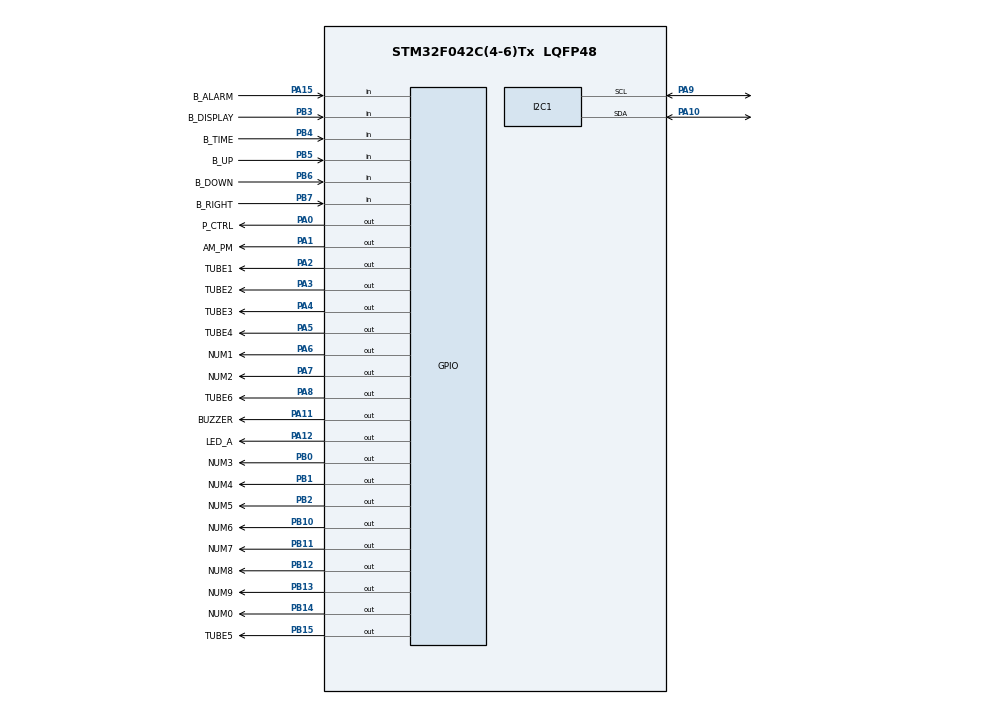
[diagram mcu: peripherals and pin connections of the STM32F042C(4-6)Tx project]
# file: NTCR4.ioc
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Mcu.Family=STM32F0
Mcu.Name=STM32F042C(4-6)Tx
Mcu.Package=LQFP48
NVIC.RCC_CRS_IRQn=true\:0\:0\:false\:false\:true\:true
NVIC.TIM2_IRQn=true\:0\:0\:false\:false\:true\:true
PA0.GPIO_Label=P_CTRL
PA0.GPIO_PuPd=GPIO_PULLDOWN
PA0.Signal=GPIO_Output
PA1.GPIO_Label=AM_PM
PA1.GPIO_PuPd=GPIO_PULLDOWN
PA1.Signal=GPIO_Output
PA10.Mode=I2C
PA10.Signal=I2C1_SDA
PA11.GPIO_Label=BUZZER
PA11.GPIO_PuPd=GPIO_PULLDOWN
PA11.Signal=GPIO_Output
PA12.GPIO_Label=LED_A
PA12.GPIO_PuPd=GPIO_PULLDOWN
PA12.Signal=GPIO_Output
PA13.Mode=Serial_Wire
PA13.Signal=SYS_SWDIO
PA14.Mode=Serial_Wire
PA14.Signal=SYS_SWCLK
PA15.GPIO_Label=B_ALARM
PA15.Signal=GPIO_Input
PA2.GPIO_Label=TUBE1
PA2.GPIO_PuPd=GPIO_PULLDOWN
PA2.Signal=GPIO_Output
PA3.GPIO_Label=TUBE2
PA3.GPIO_PuPd=GPIO_PULLDOWN
PA3.Signal=GPIO_Output
PA4.GPIO_Label=TUBE3
PA4.GPIO_PuPd=GPIO_PULLDOWN
PA4.Signal=GPIO_Output
PA5.GPIO_Label=TUBE4
PA5.GPIO_PuPd=GPIO_PULLDOWN
PA5.Signal=GPIO_Output
PA6.GPIO_Label=NUM1
PA6.GPIO_PuPd=GPIO_PULLDOWN
PA6.Signal=GPIO_Output
PA7.GPIO_Label=NUM2
PA7.GPIO_PuPd=GPIO_PULLDOWN
PA7.Signal=GPIO_Output
PA8.GPIO_Label=TUBE6
PA8.GPIO_PuPd=GPIO_PULLDOWN
PA8.Signal=GPIO_Output
PA9.Mode=I2C
PA9.Signal=I2C1_SCL
PB0.GPIO_Label=NUM3
PB0.GPIO_PuPd=GPIO_PULLDOWN
PB0.Signal=GPIO_Output
PB1.GPIO_Label=NUM4
PB1.GPIO_PuPd=GPIO_PULLDOWN
PB1.Signal=GPIO_Output
PB10.GPIO_Label=NUM6
PB10.GPIO_PuPd=GPIO_PULLDOWN
PB10.Signal=GPIO_Output
PB11.GPIO_Label=NUM7
PB11.GPIO_PuPd=GPIO_PULLDOWN
PB11.Signal=GPIO_Output
PB12.GPIO_Label=NUM8
PB12.GPIO_PuPd=GPIO_PULLDOWN
PB12.Signal=GPIO_Output
PB13.GPIO_Label=NUM9
PB13.GPIO_PuPd=GPIO_PULLDOWN
PB13.Signal=GPIO_Output
PB14.GPIO_Label=NUM0
PB14.GPIO_PuPd=GPIO_PULLDOWN
PB14.Signal=GPIO_Output
PB15.GPIO_Label=TUBE5
PB15.GPIO_PuPd=GPIO_PULLDOWN
PB15.Signal=GPIO_Output
PB2.GPIO_Label=NUM5
PB2.GPIO_PuPd=GPIO_PULLDOWN
PB2.Signal=GPIO_Output
PB3.GPIO_Label=B_DISPLAY
PB3.Signal=GPIO_Input
PB4.GPIO_Label=B_TIME
PB4.Signal=GPIO_Input
PB5.GPIO_Label=B_UP
PB5.Signal=GPIO_Input
PB6.GPIO_Label=B_DOWN
PB6.Signal=GPIO_Input
PB7.GPIO_Label=B_RIGHT
PB7.Signal=GPIO_Input
PC14OSC32_IN.Mode=LSE-External-Oscillator
PC14OSC32_IN.Signal=RCC_OSC32_IN
PC15OSC32_OUT.Mode=LSE-External-Oscillator
PC15OSC32_OUT.Signal=RCC_OSC32_OUT
ProjectManager.HeapSize=0x200
ProjectManager.StackSize=0x400
ProjectManager.TargetToolchain=SW4STM32
RCC.RTCClockSelection=RCC_RTCCLKSOURCE_LSE
RTC.HourFormat=RTC_HOURFORMAT_12
RTC.Hours=10
TIM2.AutoReloadPreload=TIM_AUTORELOAD_PRELOAD_ENABLE
TIM2.ClockDivision=TIM_CLOCKDIVISION_DIV1
TIM2.Period=1200
TIM2.Prescaler=1000
VP_RTC_VS_RTC_Activate.Mode=RTC_Enabled
VP_RTC_VS_RTC_Calendar.Mode=RTC_Calendar
VP_TIM2_VS_ClockSourceINT.Mode=Internal
board=NTCR4

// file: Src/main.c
/**
  ******************************************************************************
  * @file           : main.c
  * @brief          : Main program body
  ******************************************************************************
  ** This notice applies to any and all portions of this file
  * that are not between comment pairs USER CODE BEGIN and
  * USER CODE END. Other portions of this file, whether
  * inserted by the user or by software development tools
  * are owned by their respective copyright owners.
  *
  * COPYRIGHT(c) 2021 STMicroelectronics
  *
  * Redistribution and use in source and binary forms, with or without modification,
  * are permitted provided that the following conditions are met:
  *   1. Redistributions of source code must retain the above copyright notice,
  *      this list of conditions and the following disclaimer.
  *   2. Redistributions in binary form must reproduce the above copyright notice,
  *      this list of conditions and the following disclaimer in the documentation
  *      and/or other materials provided with the distribution.
  *   3. Neither the name of STMicroelectronics nor the names of its contributors
  *      may be used to endorse or promote products derived from this software
  *      without specific prior written permission.
  *
  * THIS SOFTWARE IS PROVIDED BY THE COPYRIGHT HOLDERS AND CONTRIBUTORS "AS IS"
  * AND ANY EXPRESS OR IMPLIED WARRANTIES, INCLUDING, BUT NOT LIMITED TO, THE
  * IMPLIED WARRANTIES OF MERCHANTABILITY AND FITNESS FOR A PARTICULAR PURPOSE ARE
  * DISCLAIMED. IN NO EVENT SHALL THE COPYRIGHT HOLDER OR CONTRIBUTORS BE LIABLE
  * FOR ANY DIRECT, INDIRECT, INCIDENTAL, SPECIAL, EXEMPLARY, OR CONSEQUENTIAL
  * DAMAGES (INCLUDING, BUT NOT LIMITED TO, PROCUREMENT OF SUBSTITUTE GOODS OR
  * SERVICES; LOSS OF USE, DATA, OR PROFITS; OR BUSINESS INTERRUPTION) HOWEVER
  * CAUSED AND ON ANY THEORY OF LIABILITY, WHETHER IN CONTRACT, STRICT LIABILITY,
  * OR TORT (INCLUDING NEGLIGENCE OR OTHERWISE) ARISING IN ANY WAY OUT OF THE USE
  * OF THIS SOFTWARE, EVEN IF ADVISED OF THE POSSIBILITY OF SUCH DAMAGE.
  *
  ******************************************************************************
  */
#include "main.h"
#include "stm32f0xx_hal.h"

/* USER CODE BEGIN Includes */
#include "LP5018.h"
#include "stdbool.h"
//#include "stm32f0xx_hal_tim.h"
/* USER CODE END Includes */

I2C_HandleTypeDef hi2c1;

RTC_HandleTypeDef hrtc;

TIM_HandleTypeDef htim2;

/* USER CODE BEGIN PV */
RTC_TimeTypeDef sTimeGet;
RTC_TimeTypeDef sTimeSet;
RTC_AlarmTypeDef sAlarmSet;
RTC_AlarmTypeDef sAlarmGet;

/* Private variables ---------------------------------------------------------*/

/* USER CODE END PV */

void SystemClock_Config(void);
static void MX_GPIO_Init(void);
static void MX_I2C1_Init(void);
static void MX_RTC_Init(void);
static void MX_TIM2_Init(void);

/* USER CODE BEGIN PFP */
/* Private function prototypes -----------------------------------------------*/
void setTube(int tube);
void setNumber(int num);
void updateTubes(uint8_t H, uint8_t M, uint8_t S);
void updateTime(void);
void setTime(void);
void checkAlarm(void);
void setAlarmTime(void);
void setColor(uint8_t brightness);
void displayColor(uint8_t brightness);
void pollButtons(void);
void numberCycle(void);
void screeeee(bool on);

uint8_t seconds = 57;
uint8_t minutes = 59;
uint8_t hours = 10;
uint8_t ampm;
uint8_t alarmSeconds = 0;
uint8_t alarmMinutes = 0;
uint8_t alarmHours = 12;
uint8_t alarmampm;
uint8_t colour = 6;
uint8_t lightLevel = 0xB0;
uint8_t NC = 0; 				//number cycle number

bool TIME_FLAG = false;			//puts into time set mode
bool ALARM_FLAG = false;		//puts into alarm set mode
bool DISPLAY_FLAG = false;		//puts into display set more
bool UP_FLAG = false;			//for use in modes
bool DOWN_FLAG = false;			//for use in modes
bool RIGHT_FLAG = false;		//for use in modes
bool SET_ALARM_FLAG = false;	//is the alarm armed?
bool PM_FLAG = false;			//is it after noon?
bool PM_ALARM_FLAG = false;		//is it alarm after noon?
bool BLINK_FLAG1 = false;		//permission to blink the LEDs
bool BLINK_FLAG2 = false;		//blink the LEDs
bool POLL_BUTTONS_FLAG = false; //permission to poll buttons
bool NUMBER_CYCLE_FLAG = false; //number cycle at end of hours
bool UPDATE_FLAG = false;

//enum mode{normal, setTime, setAlarm, setColor};
/* USER CODE END PFP */

int main(void)
{

  /* MCU Configuration----------------------------------------------------------*/

  /* Reset of all peripherals, Initializes the Flash interface and the Systick. */
  HAL_Init();

  /* Configure the system clock */
  SystemClock_Config();

  /* Initialize all configured peripherals */
  MX_GPIO_Init();
  MX_I2C1_Init();
  MX_RTC_Init();
  MX_TIM2_Init();
  /* USER CODE BEGIN 2 */
  HAL_TIM_Base_Start_IT(&htim2);
  configLEDs(&hi2c1, 0xFF);
  setLEDsColor(&hi2c1, 0xF0, 0x00, 0x80, 0x80);
  HAL_GPIO_WritePin(GPIOA, P_CTRL_Pin, GPIO_PIN_SET);
  /* USER CODE END 2 */

  /* Infinite loop */
  /* USER CODE BEGIN WHILE */
  while (1)
  {
	  pollButtons();
	  updateTime();
	  setColor(lightLevel);
	  numberCycle();
	  checkAlarm();

	  //blinking
	  if(!BLINK_FLAG2){
		  lightLevel = 0xB0;
		  displayColor(lightLevel);
	  }else{
		  lightLevel = 0x00;
		  displayColor(lightLevel);
	  }

	  //alarm, time, updating, etc
	  if(!ALARM_FLAG){
		  setTime();
		  updateTubes(hours, minutes, seconds);
	  }else{
		  setAlarmTime();
		  updateTubes(alarmHours, alarmMinutes, alarmSeconds);
	  }
  /* USER CODE END WHILE */

  }

}

void SystemClock_Config(void)
{

  RCC_OscInitTypeDef RCC_OscInitStruct;
  RCC_ClkInitTypeDef RCC_ClkInitStruct;
  RCC_PeriphCLKInitTypeDef PeriphClkInit;

    /**Configure LSE Drive Capability
    */
  HAL_PWR_EnableBkUpAccess();

  __HAL_RCC_LSEDRIVE_CONFIG(RCC_LSEDRIVE_HIGH);

    /**Initializes the CPU, AHB and APB busses clocks
    */
  RCC_OscInitStruct.OscillatorType = RCC_OSCILLATORTYPE_HSI|RCC_OSCILLATORTYPE_LSE;
  RCC_OscInitStruct.LSEState = RCC_LSE_ON;
  RCC_OscInitStruct.HSIState = RCC_HSI_ON;
  RCC_OscInitStruct.HSICalibrationValue = 16;
  RCC_OscInitStruct.PLL.PLLState = RCC_PLL_NONE;
  if (HAL_RCC_OscConfig(&RCC_OscInitStruct) != HAL_OK)
  {
    _Error_Handler(__FILE__, __LINE__);
  }

    /**Initializes the CPU, AHB and APB busses clocks
    */
  RCC_ClkInitStruct.ClockType = RCC_CLOCKTYPE_HCLK|RCC_CLOCKTYPE_SYSCLK
                              |RCC_CLOCKTYPE_PCLK1;
  RCC_ClkInitStruct.SYSCLKSource = RCC_SYSCLKSOURCE_HSI;
  RCC_ClkInitStruct.AHBCLKDivider = RCC_SYSCLK_DIV1;
  RCC_ClkInitStruct.APB1CLKDivider = RCC_HCLK_DIV1;

  if (HAL_RCC_ClockConfig(&RCC_ClkInitStruct, FLASH_LATENCY_0) != HAL_OK)
  {
    _Error_Handler(__FILE__, __LINE__);
  }

  PeriphClkInit.PeriphClockSelection = RCC_PERIPHCLK_I2C1|RCC_PERIPHCLK_RTC;
  PeriphClkInit.I2c1ClockSelection = RCC_I2C1CLKSOURCE_HSI;
  PeriphClkInit.RTCClockSelection = RCC_RTCCLKSOURCE_LSE;
  if (HAL_RCCEx_PeriphCLKConfig(&PeriphClkInit) != HAL_OK)
  {
    _Error_Handler(__FILE__, __LINE__);
  }

    /**Configure the Systick interrupt time
    */
  HAL_SYSTICK_Config(HAL_RCC_GetHCLKFreq()/1000);

    /**Configure the Systick
    */
  HAL_SYSTICK_CLKSourceConfig(SYSTICK_CLKSOURCE_HCLK);

  /* SysTick_IRQn interrupt configuration */
  HAL_NVIC_SetPriority(SysTick_IRQn, 0, 0);
}

/* I2C1 init function */
static void MX_I2C1_Init(void)
{

  hi2c1.Instance = I2C1;
  hi2c1.Init.Timing = 0x2000090E;
  hi2c1.Init.OwnAddress1 = 0;
  hi2c1.Init.AddressingMode = I2C_ADDRESSINGMODE_7BIT;
  hi2c1.Init.DualAddressMode = I2C_DUALADDRESS_DISABLE;
  hi2c1.Init.OwnAddress2 = 0;
  hi2c1.Init.OwnAddress2Masks = I2C_OA2_NOMASK;
  hi2c1.Init.GeneralCallMode = I2C_GENERALCALL_DISABLE;
  hi2c1.Init.NoStretchMode = I2C_NOSTRETCH_DISABLE;
  if (HAL_I2C_Init(&hi2c1) != HAL_OK)
  {
    _Error_Handler(__FILE__, __LINE__);
  }

    /**Configure Analogue filter
    */
  if (HAL_I2CEx_ConfigAnalogFilter(&hi2c1, I2C_ANALOGFILTER_ENABLE) != HAL_OK)
  {
    _Error_Handler(__FILE__, __LINE__);
  }

    /**Configure Digital filter
    */
  if (HAL_I2CEx_ConfigDigitalFilter(&hi2c1, 0) != HAL_OK)
  {
    _Error_Handler(__FILE__, __LINE__);
  }

}

/* RTC init function */
static void MX_RTC_Init(void)
{

  RTC_TimeTypeDef sTime;
  RTC_DateTypeDef sDate;

    /**Initialize RTC Only
    */
  hrtc.Instance = RTC;
if(HAL_RTCEx_BKUPRead(&hrtc, RTC_BKP_DR0) != 0x32F2){
  hrtc.Init.HourFormat = RTC_HOURFORMAT_12;
  hrtc.Init.AsynchPrediv = 127;
  hrtc.Init.SynchPrediv = 255;
  hrtc.Init.OutPut = RTC_OUTPUT_DISABLE;
  hrtc.Init.OutPutPolarity = RTC_OUTPUT_POLARITY_HIGH;
  hrtc.Init.OutPutType = RTC_OUTPUT_TYPE_OPENDRAIN;
  if (HAL_RTC_Init(&hrtc) != HAL_OK)
  {
    _Error_Handler(__FILE__, __LINE__);
  }

    /**Initialize RTC and set the Time and Date
    */
  sTime.Hours = 0x10;
  sTime.Minutes = 0x0;
  sTime.Seconds = 0x0;
  sTime.TimeFormat = RTC_HOURFORMAT12_AM;
  sTime.DayLightSaving = RTC_DAYLIGHTSAVING_NONE;
  sTime.StoreOperation = RTC_STOREOPERATION_RESET;
  if (HAL_RTC_SetTime(&hrtc, &sTime, RTC_FORMAT_BCD) != HAL_OK)
  {
    _Error_Handler(__FILE__, __LINE__);
  }

  sDate.WeekDay = RTC_WEEKDAY_MONDAY;
  sDate.Month = RTC_MONTH_JANUARY;
  sDate.Date = 0x1;
  sDate.Year = 0x0;

  if (HAL_RTC_SetDate(&hrtc, &sDate, RTC_FORMAT_BCD) != HAL_OK)
  {
    _Error_Handler(__FILE__, __LINE__);
  }

    HAL_RTCEx_BKUPWrite(&hrtc,RTC_BKP_DR0,0x32F2);
  }

}

/* TIM2 init function */
static void MX_TIM2_Init(void)
{

  TIM_ClockConfigTypeDef sClockSourceConfig;
  TIM_MasterConfigTypeDef sMasterConfig;

  htim2.Instance = TIM2;
  htim2.Init.Prescaler = 1000;
  htim2.Init.CounterMode = TIM_COUNTERMODE_UP;
  htim2.Init.Period = 1200;
  htim2.Init.ClockDivision = TIM_CLOCKDIVISION_DIV1;
  htim2.Init.AutoReloadPreload = TIM_AUTORELOAD_PRELOAD_ENABLE;
  if (HAL_TIM_Base_Init(&htim2) != HAL_OK)
  {
    _Error_Handler(__FILE__, __LINE__);
  }

  sClockSourceConfig.ClockSource = TIM_CLOCKSOURCE_INTERNAL;
  if (HAL_TIM_ConfigClockSource(&htim2, &sClockSourceConfig) != HAL_OK)
  {
    _Error_Handler(__FILE__, __LINE__);
  }

  sMasterConfig.MasterOutputTrigger = TIM_TRGO_RESET;
  sMasterConfig.MasterSlaveMode = TIM_MASTERSLAVEMODE_DISABLE;
  if (HAL_TIMEx_MasterConfigSynchronization(&htim2, &sMasterConfig) != HAL_OK)
  {
    _Error_Handler(__FILE__, __LINE__);
  }

}

/** Configure pins as
        * Analog
        * Input
        * Output
        * EVENT_OUT
        * EXTI
*/
static void MX_GPIO_Init(void)
{

  GPIO_InitTypeDef GPIO_InitStruct;

  /* GPIO Ports Clock Enable */
  __HAL_RCC_GPIOC_CLK_ENABLE();
  __HAL_RCC_GPIOA_CLK_ENABLE();
  __HAL_RCC_GPIOB_CLK_ENABLE();

  /*Configure GPIO pin Output Level */
  HAL_GPIO_WritePin(GPIOA, P_CTRL_Pin|AM_PM_Pin|TUBE1_Pin|TUBE2_Pin
                          |TUBE3_Pin|TUBE4_Pin|NUM1_Pin|NUM2_Pin
                          |TUBE6_Pin|BUZZER_Pin|LED_A_Pin, GPIO_PIN_RESET);

  /*Configure GPIO pin Output Level */
  HAL_GPIO_WritePin(GPIOB, NUM3_Pin|NUM4_Pin|NUM5_Pin|NUM6_Pin
                          |NUM7_Pin|NUM8_Pin|NUM9_Pin|NUM0_Pin
                          |TUBE5_Pin, GPIO_PIN_RESET);

  /*Configure GPIO pins : P_CTRL_Pin AM_PM_Pin TUBE1_Pin TUBE2_Pin
                           TUBE3_Pin TUBE4_Pin NUM1_Pin NUM2_Pin
                           TUBE6_Pin BUZZER_Pin LED_A_Pin */
  GPIO_InitStruct.Pin = P_CTRL_Pin|AM_PM_Pin|TUBE1_Pin|TUBE2_Pin
                          |TUBE3_Pin|TUBE4_Pin|NUM1_Pin|NUM2_Pin
                          |TUBE6_Pin|BUZZER_Pin|LED_A_Pin;
  GPIO_InitStruct.Mode = GPIO_MODE_OUTPUT_PP;
  GPIO_InitStruct.Pull = GPIO_PULLDOWN;
  GPIO_InitStruct.Speed = GPIO_SPEED_FREQ_LOW;
  HAL_GPIO_Init(GPIOA, &GPIO_InitStruct);

  /*Configure GPIO pins : NUM3_Pin NUM4_Pin NUM5_Pin NUM6_Pin
                           NUM7_Pin NUM8_Pin NUM9_Pin NUM0_Pin
                           TUBE5_Pin */
  GPIO_InitStruct.Pin = NUM3_Pin|NUM4_Pin|NUM5_Pin|NUM6_Pin
                          |NUM7_Pin|NUM8_Pin|NUM9_Pin|NUM0_Pin
                          |TUBE5_Pin;
  GPIO_InitStruct.Mode = GPIO_MODE_OUTPUT_PP;
  GPIO_InitStruct.Pull = GPIO_PULLDOWN;
  GPIO_InitStruct.Speed = GPIO_SPEED_FREQ_LOW;
  HAL_GPIO_Init(GPIOB, &GPIO_InitStruct);

  /*Configure GPIO pin : B_ALARM_Pin */
  GPIO_InitStruct.Pin = B_ALARM_Pin;
  GPIO_InitStruct.Mode = GPIO_MODE_INPUT;
  GPIO_InitStruct.Pull = GPIO_NOPULL;
  HAL_GPIO_Init(B_ALARM_GPIO_Port, &GPIO_InitStruct);

  /*Configure GPIO pins : B_DISPLAY_Pin B_TIME_Pin B_UP_Pin B_DOWN_Pin
                           B_RIGHT_Pin */
  GPIO_InitStruct.Pin = B_DISPLAY_Pin|B_TIME_Pin|B_UP_Pin|B_DOWN_Pin
                          |B_RIGHT_Pin;
  GPIO_InitStruct.Mode = GPIO_MODE_INPUT;
  GPIO_InitStruct.Pull = GPIO_NOPULL;
  HAL_GPIO_Init(GPIOB, &GPIO_InitStruct);

}

/* USER CODE BEGIN 4 */

void HAL_TIM_PeriodElapsedCallback(TIM_HandleTypeDef* htim){
	if (htim->Instance == TIM2)	//100ms timer
	{
		static uint8_t i = 0;
		i++;
		POLL_BUTTONS_FLAG = true;
		//if we are changing the time do not start the update process
		if(!TIME_FLAG){
			UPDATE_FLAG = true;
		}
		//Blink rate
		if(i == 3 && BLINK_FLAG1){
			BLINK_FLAG2 = !BLINK_FLAG2;
			i=0;
		}else if(!BLINK_FLAG1){
			BLINK_FLAG2 = false;
		}else if(i > 3){
			i = 0;
		}
		//Start the Number cycle
		if(minutes == 59 && seconds == 59){
			NUMBER_CYCLE_FLAG = true;
		}
		if(NUMBER_CYCLE_FLAG){
			NC++;
		}
	}
}

void pollButtons(void){
	static uint8_t i = 0;
	if(POLL_BUTTONS_FLAG){
		if(!HAL_GPIO_ReadPin(GPIOB, B_TIME_Pin)){				//time button goes into time set mode
			if(!TIME_FLAG && !ALARM_FLAG && !DISPLAY_FLAG){
				TIME_FLAG = true;
			}else{
				TIME_FLAG = false;
			}
		}
		if(TIME_FLAG && !HAL_GPIO_ReadPin(GPIOA, B_ALARM_Pin)){		//time button and then alarm button puts into alarm set mode
			//ALARM_FLAG = !ALARM_FLAG;
			if(i == 0){
				ALARM_FLAG = true;
				i++;
			}else{
				ALARM_FLAG = false;
				TIME_FLAG = false;
				i = 0;
			}
		}
		if(!HAL_GPIO_ReadPin(GPIOB, B_DISPLAY_Pin)){			//display button goes into display mode
			if(!DISPLAY_FLAG && !ALARM_FLAG && !TIME_FLAG){
				DISPLAY_FLAG = true;
			}else{
				DISPLAY_FLAG = false;
			}
		}
		if(!HAL_GPIO_ReadPin(GPIOA, B_ALARM_Pin) && !TIME_FLAG){				//alarm button on its own enables/disables the alarm
			if(!SET_ALARM_FLAG && !TIME_FLAG && !DISPLAY_FLAG){
				SET_ALARM_FLAG = true;
			}else{
				SET_ALARM_FLAG = false;
			}
		}
		if(!HAL_GPIO_ReadPin(GPIOB, B_UP_Pin)){					//up
			if((!UP_FLAG && TIME_FLAG) || (!UP_FLAG && DISPLAY_FLAG) || (!UP_FLAG && ALARM_FLAG)){
				UP_FLAG = true;
			}else{
				UP_FLAG = false;
			}
		}
		if(!HAL_GPIO_ReadPin(GPIOB, B_DOWN_Pin)){				//down
			if((!DOWN_FLAG && TIME_FLAG) || (!DOWN_FLAG && DISPLAY_FLAG) || (!DOWN_FLAG && ALARM_FLAG)){
				DOWN_FLAG = true;
			}else{
				DOWN_FLAG = false;
			}
		}
		if(!HAL_GPIO_ReadPin(GPIOB, B_RIGHT_Pin)){				//right
			if((!RIGHT_FLAG && TIME_FLAG) || (!RIGHT_FLAG && ALARM_FLAG)){
				RIGHT_FLAG = true;
			}else{
				RIGHT_FLAG = false;
			}
		}
		POLL_BUTTONS_FLAG = false;
	}
}

void setAlarmTime(void){
	static uint8_t tube = 0;

	if(ALARM_FLAG){
		if(RIGHT_FLAG){
			RIGHT_FLAG = false;
			tube++;
			if(tube>2){
				tube = 0;
			}
		}
		configLEDs(&hi2c1, 0x03 << tube*2);

		if(UP_FLAG){
			UP_FLAG = false;
			switch(tube){
			case 0:
				alarmHours += 1;
				if(alarmHours > 12){
					alarmHours = 1;
					PM_ALARM_FLAG = !PM_ALARM_FLAG;
				}
				break;
			case 1:
				alarmMinutes += 1;
				if(alarmMinutes > 59){
					alarmMinutes = 0;
				}
				break;
			case 2:
				alarmSeconds += 1;
				if(alarmSeconds > 59){
					alarmSeconds = 0;
				}
				break;
			default:
				break;
			}

		}else if(DOWN_FLAG){
			DOWN_FLAG = false;
			switch(tube){
			case 0:
				if(alarmHours == 1){
					alarmHours = 13;
					PM_ALARM_FLAG = !PM_ALARM_FLAG;
				}
				alarmHours -= 1;

				break;
			case 1:
				if(alarmMinutes == 0){
					alarmMinutes = 60;
				}
				alarmMinutes -= 1;

				break;
			case 2:
				if(alarmSeconds == 0){
					alarmSeconds = 60;
				}
				alarmSeconds -= 1;
				break;
			default:
				break;
			}
		} else{
			//nothing
		}
		/*sAlarmSet.Seconds = alarmSeconds;
		sAlarmSet.Minutes = alarmMinutes;
		sAlarmSet.Hours = alarmHours;
		HAL_RTC_SetAlarm_IT(&hrtc, &sAlarmSet, RTC_FORMAT_BIN);*/

	}else{
		tube = 0;
		configLEDs(&hi2c1, 0xFF);
	}
}

void checkAlarm(void){
	if(SET_ALARM_FLAG){
		HAL_GPIO_WritePin(GPIOA, LED_A_Pin, GPIO_PIN_SET);	//turn on the LED
		if(hours == alarmHours && minutes == alarmMinutes && seconds == alarmSeconds && ampm == alarmampm && !TIME_FLAG && !ALARM_FLAG){
			//will only occur if not in a setting mode and if the time matches exactly
			//activate alarm
			screeeee(true);
		}
	}else{
		HAL_GPIO_WritePin(GPIOA, LED_A_Pin, GPIO_PIN_RESET);//no alarm LED
		//silence alarm
		screeeee(false);
	}
}

void screeeee(bool on){
	if(on){
		HAL_GPIO_WritePin(GPIOA, BUZZER_Pin, GPIO_PIN_SET);
	}else{
		HAL_GPIO_WritePin(GPIOA, BUZZER_Pin, GPIO_PIN_RESET);
	}
}

void setColor(uint8_t brightness){
	if(DISPLAY_FLAG == true){
		if(UP_FLAG == true){
			UP_FLAG = false;
			colour++;
			if(colour > 10){
				colour = 1;
			}
		}else if(DOWN_FLAG == true){
			DOWN_FLAG = false;
			colour--;
			if(colour < 1){
				colour = 10;
			}
		}
		displayColor(brightness);
		BLINK_FLAG1 = true;
	}
	else{
		BLINK_FLAG1 = false;
	}
}

void displayColor(uint8_t brightness){
	switch(colour){
	case 1:
		setLEDsColor(&hi2c1, brightness, 0x80, 0x80, 0x80);	//white
		HAL_GPIO_WritePin(GPIOA, P_CTRL_Pin, GPIO_PIN_SET);
		break;
	case 2:
		setLEDsColor(&hi2c1, brightness, 0x80, 0x00, 0x00);	//red
		HAL_GPIO_WritePin(GPIOA, P_CTRL_Pin, GPIO_PIN_SET);
		break;
	case 3:
		setLEDsColor(&hi2c1, brightness, 0x80, 0x40, 0x00);	//Orange
		HAL_GPIO_WritePin(GPIOA, P_CTRL_Pin, GPIO_PIN_SET);
		break;
	case 4:
		setLEDsColor(&hi2c1, brightness, 0x80, 0x80, 0x00);	//yellow
		HAL_GPIO_WritePin(GPIOA, P_CTRL_Pin, GPIO_PIN_SET);
		break;
	case 5:
		setLEDsColor(&hi2c1, brightness, 0x00, 0x80, 0x00);	//green
		HAL_GPIO_WritePin(GPIOA, P_CTRL_Pin, GPIO_PIN_SET);
		break;
	case 6:
		setLEDsColor(&hi2c1, brightness, 0x00, 0x80, 0x80);	//teal
		HAL_GPIO_WritePin(GPIOA, P_CTRL_Pin, GPIO_PIN_SET);
		break;
	case 7:
		setLEDsColor(&hi2c1, brightness, 0x00, 0x00, 0x80);	//blue
		HAL_GPIO_WritePin(GPIOA, P_CTRL_Pin, GPIO_PIN_SET);
		break;
	case 8:
		setLEDsColor(&hi2c1, brightness, 0x80, 0x00, 0x80);	//purple
		HAL_GPIO_WritePin(GPIOA, P_CTRL_Pin, GPIO_PIN_SET);
		break;
	case 9:
		setLEDsColor(&hi2c1, brightness, 0x00, 0x00, 0x00);	//leds off
		HAL_GPIO_WritePin(GPIOA, P_CTRL_Pin, GPIO_PIN_SET);
		break;
	case 10:
		setLEDsColor(&hi2c1, brightness, 0x00, 0x00, 0x00);	//all off
		HAL_GPIO_WritePin(GPIOA, P_CTRL_Pin, GPIO_PIN_RESET);
		break;
	default:
		colour = 1;
		break;
	}
}

void numberCycle(void){
	if(NUMBER_CYCLE_FLAG && (NC < 10) && !TIME_FLAG){
		hours = NC*11;
		minutes = NC*11;
		seconds = NC*11;
		updateTubes(hours, minutes, seconds);
	}else{
		NUMBER_CYCLE_FLAG = false;
		NC = 0;
	}
}

void setTime(void){
	//RTC_TimeTypeDef sTimeSet;
	static uint8_t tube = 0;

	if(TIME_FLAG){
		if(RIGHT_FLAG){
			RIGHT_FLAG = false;
			tube++;
			if(tube>2){
				tube = 0;
			}
		}
		configLEDs(&hi2c1, 0x03 << tube*2);

		if(UP_FLAG){
			UP_FLAG = false;
			switch(tube){
			case 0:
				hours += 1;
				if(hours == 12){
					PM_FLAG = !PM_FLAG;
				}
				if(hours > 12){
					hours = 1;
				}
				break;
			case 1:
				minutes += 1;
				if(minutes > 59){
					minutes = 0;
				}
				break;
			case 2:
				seconds += 1;
				if(seconds > 59){
					seconds = 0;
				}
				break;
			default:
				break;
			}

		}else if(DOWN_FLAG){
			DOWN_FLAG = false;
			switch(tube){
			case 0:
				if(hours == 1){
					hours = 13;
				}else if(hours == 12){
					PM_FLAG = !PM_FLAG;
				}
				hours -= 1;

				break;
			case 1:
				if(minutes == 0){
					minutes = 60;
				}
				minutes -= 1;

				break;
			case 2:
				if(seconds == 0){
					seconds = 60;
				}
				seconds -= 1;
				break;
			default:
				break;
			}
		} else{
			//nothing
		}
		sTimeSet.Seconds = seconds;
		sTimeSet.Minutes = minutes;
		sTimeSet.Hours = hours;
		HAL_RTC_SetTime(&hrtc, &sTimeSet, RTC_FORMAT_BIN);

	}else{
		tube = 0;
		configLEDs(&hi2c1, 0xFF);
	}
}

void updateTime(void){
	static uint8_t i = 0;
	if(UPDATE_FLAG){
		RTC_DateTypeDef sDateGet;
		HAL_RTC_GetTime(&hrtc, &sTimeGet, RTC_FORMAT_BIN);
		HAL_RTC_GetDate(&hrtc, &sDateGet, RTC_FORMAT_BIN);
		seconds = sTimeGet.Seconds;
		minutes = sTimeGet.Minutes;
		hours = sTimeGet.Hours;
		ampm = sTimeGet.TimeFormat;
		if(hours == 12 && minutes == 0 && seconds == 0){
			i++;
			if(i > 5){
				PM_FLAG = !PM_FLAG;
				i = 0;
			}
		}
		UPDATE_FLAG = false;
	}
}

void updateTubes(uint8_t H, uint8_t M, uint8_t S){
	setTube(1);
	setNumber(H/10);
	HAL_Delay(1);
	setTube(2);
	setNumber(H%10);
	HAL_Delay(1);
	setTube(3);
	setNumber(M/10);
	HAL_Delay(1);
	setTube(4);
	setNumber(M%10);
	HAL_Delay(1);
	setTube(5);
	setNumber(S/10);
	HAL_Delay(1);
	setTube(6);
	setNumber(S%10);
	HAL_Delay(1);
	/*if((PM_FLAG && !ALARM_FLAG) || (PM_ALARM_FLAG)){
		//50% duty cycle to help resistor
		//HAL_GPIO_TogglePin(GPIOA, AM_PM_Pin);
		setTube(0);
		HAL_GPIO_WritePin(GPIOA, AM_PM_Pin, GPIO_PIN_SET);
		HAL_Delay(1);
		HAL_GPIO_WritePin(GPIOA, AM_PM_Pin, GPIO_PIN_RESET);
	}else{
		HAL_GPIO_WritePin(GPIOA, AM_PM_Pin, GPIO_PIN_RESET);
	}*/

	if((PM_FLAG && !ALARM_FLAG) || (PM_ALARM_FLAG)){
		//50% duty cycle to help resistor
		HAL_GPIO_TogglePin(GPIOA, AM_PM_Pin);
		//HAL_GPIO_WritePin(GPIOA, AM_PM_Pin, GPIO_PIN_SET);
	}else{
		HAL_GPIO_WritePin(GPIOA, AM_PM_Pin, GPIO_PIN_RESET);
	}
}

void setTube(int tube){
	switch(tube){
	case 1:
		HAL_GPIO_WritePin(GPIOA, TUBE1_Pin, GPIO_PIN_SET);
		HAL_GPIO_WritePin(GPIOA, TUBE2_Pin, GPIO_PIN_RESET);
		HAL_GPIO_WritePin(GPIOA, TUBE3_Pin, GPIO_PIN_RESET);
		HAL_GPIO_WritePin(GPIOA, TUBE4_Pin, GPIO_PIN_RESET);
		HAL_GPIO_WritePin(GPIOB, TUBE5_Pin, GPIO_PIN_RESET);
		HAL_GPIO_WritePin(GPIOA, TUBE6_Pin, GPIO_PIN_RESET);
		break;
	case 2:
		HAL_GPIO_WritePin(GPIOA, TUBE1_Pin, GPIO_PIN_RESET);
		HAL_GPIO_WritePin(GPIOA, TUBE2_Pin, GPIO_PIN_SET);
		HAL_GPIO_WritePin(GPIOA, TUBE3_Pin, GPIO_PIN_RESET);
		HAL_GPIO_WritePin(GPIOA, TUBE4_Pin, GPIO_PIN_RESET);
		HAL_GPIO_WritePin(GPIOB, TUBE5_Pin, GPIO_PIN_RESET);
		HAL_GPIO_WritePin(GPIOA, TUBE6_Pin, GPIO_PIN_RESET);
		break;
	case 3:
		HAL_GPIO_WritePin(GPIOA, TUBE1_Pin, GPIO_PIN_RESET);
		HAL_GPIO_WritePin(GPIOA, TUBE2_Pin, GPIO_PIN_RESET);
		HAL_GPIO_WritePin(GPIOA, TUBE3_Pin, GPIO_PIN_SET);
		HAL_GPIO_WritePin(GPIOA, TUBE4_Pin, GPIO_PIN_RESET);
		HAL_GPIO_WritePin(GPIOB, TUBE5_Pin, GPIO_PIN_RESET);
		HAL_GPIO_WritePin(GPIOA, TUBE6_Pin, GPIO_PIN_RESET);
		break;
	case 4:
		HAL_GPIO_WritePin(GPIOA, TUBE1_Pin, GPIO_PIN_RESET);
		HAL_GPIO_WritePin(GPIOA, TUBE2_Pin, GPIO_PIN_RESET);
		HAL_GPIO_WritePin(GPIOA, TUBE3_Pin, GPIO_PIN_RESET);
		HAL_GPIO_WritePin(GPIOA, TUBE4_Pin, GPIO_PIN_SET);
		HAL_GPIO_WritePin(GPIOB, TUBE5_Pin, GPIO_PIN_RESET);
		HAL_GPIO_WritePin(GPIOA, TUBE6_Pin, GPIO_PIN_RESET);
		break;
	case 5:
		HAL_GPIO_WritePin(GPIOA, TUBE1_Pin, GPIO_PIN_RESET);
		HAL_GPIO_WritePin(GPIOA, TUBE2_Pin, GPIO_PIN_RESET);
		HAL_GPIO_WritePin(GPIOA, TUBE3_Pin, GPIO_PIN_RESET);
		HAL_GPIO_WritePin(GPIOA, TUBE4_Pin, GPIO_PIN_RESET);
		HAL_GPIO_WritePin(GPIOB, TUBE5_Pin, GPIO_PIN_SET);
		HAL_GPIO_WritePin(GPIOA, TUBE6_Pin, GPIO_PIN_RESET);
		break;
	case 6:
		HAL_GPIO_WritePin(GPIOA, TUBE1_Pin, GPIO_PIN_RESET);
		HAL_GPIO_WritePin(GPIOA, TUBE2_Pin, GPIO_PIN_RESET);
		HAL_GPIO_WritePin(GPIOA, TUBE3_Pin, GPIO_PIN_RESET);
		HAL_GPIO_WritePin(GPIOA, TUBE4_Pin, GPIO_PIN_RESET);
		HAL_GPIO_WritePin(GPIOB, TUBE5_Pin, GPIO_PIN_RESET);
		HAL_GPIO_WritePin(GPIOA, TUBE6_Pin, GPIO_PIN_SET);
		break;
	default:
		HAL_GPIO_WritePin(GPIOA, TUBE1_Pin, GPIO_PIN_RESET);	//ALL OFF
		HAL_GPIO_WritePin(GPIOA, TUBE2_Pin, GPIO_PIN_RESET);
		HAL_GPIO_WritePin(GPIOA, TUBE3_Pin, GPIO_PIN_RESET);
		HAL_GPIO_WritePin(GPIOA, TUBE4_Pin, GPIO_PIN_RESET);
		HAL_GPIO_WritePin(GPIOB, TUBE5_Pin, GPIO_PIN_RESET);
		HAL_GPIO_WritePin(GPIOA, TUBE6_Pin, GPIO_PIN_RESET);
		break;
	}
}

void setNumber(int num){
	switch(num){
	case 0:
		HAL_GPIO_WritePin(GPIOB, NUM0_Pin, GPIO_PIN_SET);
		HAL_GPIO_WritePin(GPIOA, NUM1_Pin, GPIO_PIN_RESET);
		HAL_GPIO_WritePin(GPIOA, NUM2_Pin, GPIO_PIN_RESET);
		HAL_GPIO_WritePin(GPIOB, NUM3_Pin, GPIO_PIN_RESET);
		HAL_GPIO_WritePin(GPIOB, NUM4_Pin, GPIO_PIN_RESET);
		HAL_GPIO_WritePin(GPIOB, NUM5_Pin, GPIO_PIN_RESET);
		HAL_GPIO_WritePin(GPIOB, NUM6_Pin, GPIO_PIN_RESET);
		HAL_GPIO_WritePin(GPIOB, NUM7_Pin, GPIO_PIN_RESET);
		HAL_GPIO_WritePin(GPIOB, NUM8_Pin, GPIO_PIN_RESET);
		HAL_GPIO_WritePin(GPIOB, NUM9_Pin, GPIO_PIN_RESET);
		break;
	case 1:
		HAL_GPIO_WritePin(GPIOB, NUM0_Pin, GPIO_PIN_RESET);
		HAL_GPIO_WritePin(GPIOA, NUM1_Pin, GPIO_PIN_SET);
		HAL_GPIO_WritePin(GPIOA, NUM2_Pin, GPIO_PIN_RESET);
		HAL_GPIO_WritePin(GPIOB, NUM3_Pin, GPIO_PIN_RESET);
		HAL_GPIO_WritePin(GPIOB, NUM4_Pin, GPIO_PIN_RESET);
		HAL_GPIO_WritePin(GPIOB, NUM5_Pin, GPIO_PIN_RESET);
		HAL_GPIO_WritePin(GPIOB, NUM6_Pin, GPIO_PIN_RESET);
		HAL_GPIO_WritePin(GPIOB, NUM7_Pin, GPIO_PIN_RESET);
		HAL_GPIO_WritePin(GPIOB, NUM8_Pin, GPIO_PIN_RESET);
		HAL_GPIO_WritePin(GPIOB, NUM9_Pin, GPIO_PIN_RESET);
		break;
	case 2:
		HAL_GPIO_WritePin(GPIOB, NUM0_Pin, GPIO_PIN_RESET);
		HAL_GPIO_WritePin(GPIOA, NUM1_Pin, GPIO_PIN_RESET);
		HAL_GPIO_WritePin(GPIOA, NUM2_Pin, GPIO_PIN_SET);
		HAL_GPIO_WritePin(GPIOB, NUM3_Pin, GPIO_PIN_RESET);
		HAL_GPIO_WritePin(GPIOB, NUM4_Pin, GPIO_PIN_RESET);
		HAL_GPIO_WritePin(GPIOB, NUM5_Pin, GPIO_PIN_RESET);
		HAL_GPIO_WritePin(GPIOB, NUM6_Pin, GPIO_PIN_RESET);
		HAL_GPIO_WritePin(GPIOB, NUM7_Pin, GPIO_PIN_RESET);
		HAL_GPIO_WritePin(GPIOB, NUM8_Pin, GPIO_PIN_RESET);
		HAL_GPIO_WritePin(GPIOB, NUM9_Pin, GPIO_PIN_RESET);
		break;
	case 3:
		HAL_GPIO_WritePin(GPIOB, NUM0_Pin, GPIO_PIN_RESET);
		HAL_GPIO_WritePin(GPIOA, NUM1_Pin, GPIO_PIN_RESET);
		HAL_GPIO_WritePin(GPIOA, NUM2_Pin, GPIO_PIN_RESET);
		HAL_GPIO_WritePin(GPIOB, NUM3_Pin, GPIO_PIN_SET);
		HAL_GPIO_WritePin(GPIOB, NUM4_Pin, GPIO_PIN_RESET);
		HAL_GPIO_WritePin(GPIOB, NUM5_Pin, GPIO_PIN_RESET);
		HAL_GPIO_WritePin(GPIOB, NUM6_Pin, GPIO_PIN_RESET);
		HAL_GPIO_WritePin(GPIOB, NUM7_Pin, GPIO_PIN_RESET);
		HAL_GPIO_WritePin(GPIOB, NUM8_Pin, GPIO_PIN_RESET);
		HAL_GPIO_WritePin(GPIOB, NUM9_Pin, GPIO_PIN_RESET);
		break;
	case 4:
		HAL_GPIO_WritePin(GPIOB, NUM0_Pin, GPIO_PIN_RESET);
		HAL_GPIO_WritePin(GPIOA, NUM1_Pin, GPIO_PIN_RESET);
		HAL_GPIO_WritePin(GPIOA, NUM2_Pin, GPIO_PIN_RESET);
		HAL_GPIO_WritePin(GPIOB, NUM3_Pin, GPIO_PIN_RESET);
		HAL_GPIO_WritePin(GPIOB, NUM4_Pin, GPIO_PIN_SET);
		HAL_GPIO_WritePin(GPIOB, NUM5_Pin, GPIO_PIN_RESET);
		HAL_GPIO_WritePin(GPIOB, NUM6_Pin, GPIO_PIN_RESET);
		HAL_GPIO_WritePin(GPIOB, NUM7_Pin, GPIO_PIN_RESET);
		HAL_GPIO_WritePin(GPIOB, NUM8_Pin, GPIO_PIN_RESET);
		HAL_GPIO_WritePin(GPIOB, NUM9_Pin, GPIO_PIN_RESET);
		break;
	case 5:
		HAL_GPIO_WritePin(GPIOB, NUM0_Pin, GPIO_PIN_RESET);
		HAL_GPIO_WritePin(GPIOA, NUM1_Pin, GPIO_PIN_RESET);
		HAL_GPIO_WritePin(GPIOA, NUM2_Pin, GPIO_PIN_RESET);
		HAL_GPIO_WritePin(GPIOB, NUM3_Pin, GPIO_PIN_RESET);
		HAL_GPIO_WritePin(GPIOB, NUM4_Pin, GPIO_PIN_RESET);
		HAL_GPIO_WritePin(GPIOB, NUM5_Pin, GPIO_PIN_SET);
		HAL_GPIO_WritePin(GPIOB, NUM6_Pin, GPIO_PIN_RESET);
		HAL_GPIO_WritePin(GPIOB, NUM7_Pin, GPIO_PIN_RESET);
		HAL_GPIO_WritePin(GPIOB, NUM8_Pin, GPIO_PIN_RESET);
		HAL_GPIO_WritePin(GPIOB, NUM9_Pin, GPIO_PIN_RESET);
		break;
	case 6:
		HAL_GPIO_WritePin(GPIOB, NUM0_Pin, GPIO_PIN_RESET);
		HAL_GPIO_WritePin(GPIOA, NUM1_Pin, GPIO_PIN_RESET);
		HAL_GPIO_WritePin(GPIOA, NUM2_Pin, GPIO_PIN_RESET);
		HAL_GPIO_WritePin(GPIOB, NUM3_Pin, GPIO_PIN_RESET);
		HAL_GPIO_WritePin(GPIOB, NUM4_Pin, GPIO_PIN_RESET);
		HAL_GPIO_WritePin(GPIOB, NUM5_Pin, GPIO_PIN_RESET);
		HAL_GPIO_WritePin(GPIOB, NUM6_Pin, GPIO_PIN_SET);
		HAL_GPIO_WritePin(GPIOB, NUM7_Pin, GPIO_PIN_RESET);
		HAL_GPIO_WritePin(GPIOB, NUM8_Pin, GPIO_PIN_RESET);
		HAL_GPIO_WritePin(GPIOB, NUM9_Pin, GPIO_PIN_RESET);
		break;
	case 7:
		HAL_GPIO_WritePin(GPIOB, NUM0_Pin, GPIO_PIN_RESET);
		HAL_GPIO_WritePin(GPIOA, NUM1_Pin, GPIO_PIN_RESET);
		HAL_GPIO_WritePin(GPIOA, NUM2_Pin, GPIO_PIN_RESET);
		HAL_GPIO_WritePin(GPIOB, NUM3_Pin, GPIO_PIN_RESET);
		HAL_GPIO_WritePin(GPIOB, NUM4_Pin, GPIO_PIN_RESET);
		HAL_GPIO_WritePin(GPIOB, NUM5_Pin, GPIO_PIN_RESET);
		HAL_GPIO_WritePin(GPIOB, NUM6_Pin, GPIO_PIN_RESET);
		HAL_GPIO_WritePin(GPIOB, NUM7_Pin, GPIO_PIN_SET);
		HAL_GPIO_WritePin(GPIOB, NUM8_Pin, GPIO_PIN_RESET);
		HAL_GPIO_WritePin(GPIOB, NUM9_Pin, GPIO_PIN_RESET);
		break;
	case 8:
		HAL_GPIO_WritePin(GPIOB, NUM0_Pin, GPIO_PIN_RESET);
		HAL_GPIO_WritePin(GPIOA, NUM1_Pin, GPIO_PIN_RESET);
		HAL_GPIO_WritePin(GPIOA, NUM2_Pin, GPIO_PIN_RESET);
		HAL_GPIO_WritePin(GPIOB, NUM3_Pin, GPIO_PIN_RESET);
		HAL_GPIO_WritePin(GPIOB, NUM4_Pin, GPIO_PIN_RESET);
		HAL_GPIO_WritePin(GPIOB, NUM5_Pin, GPIO_PIN_RESET);
		HAL_GPIO_WritePin(GPIOB, NUM6_Pin, GPIO_PIN_RESET);
		HAL_GPIO_WritePin(GPIOB, NUM7_Pin, GPIO_PIN_RESET);
		HAL_GPIO_WritePin(GPIOB, NUM8_Pin, GPIO_PIN_SET);
		HAL_GPIO_WritePin(GPIOB, NUM9_Pin, GPIO_PIN_RESET);
		break;
	case 9:
		HAL_GPIO_WritePin(GPIOB, NUM0_Pin, GPIO_PIN_RESET);
		HAL_GPIO_WritePin(GPIOA, NUM1_Pin, GPIO_PIN_RESET);
		HAL_GPIO_WritePin(GPIOA, NUM2_Pin, GPIO_PIN_RESET);
		HAL_GPIO_WritePin(GPIOB, NUM3_Pin, GPIO_PIN_RESET);
		HAL_GPIO_WritePin(GPIOB, NUM4_Pin, GPIO_PIN_RESET);
		HAL_GPIO_WritePin(GPIOB, NUM5_Pin, GPIO_PIN_RESET);
		HAL_GPIO_WritePin(GPIOB, NUM6_Pin, GPIO_PIN_RESET);
		HAL_GPIO_WritePin(GPIOB, NUM7_Pin, GPIO_PIN_RESET);
		HAL_GPIO_WritePin(GPIOB, NUM8_Pin, GPIO_PIN_RESET);
		HAL_GPIO_WritePin(GPIOB, NUM9_Pin, GPIO_PIN_SET);
		break;
	default:
		HAL_GPIO_WritePin(GPIOB, NUM0_Pin, GPIO_PIN_RESET);
		HAL_GPIO_WritePin(GPIOA, NUM1_Pin, GPIO_PIN_RESET);
		HAL_GPIO_WritePin(GPIOA, NUM2_Pin, GPIO_PIN_RESET);
		HAL_GPIO_WritePin(GPIOB, NUM3_Pin, GPIO_PIN_RESET);
		HAL_GPIO_WritePin(GPIOB, NUM4_Pin, GPIO_PIN_RESET);
		HAL_GPIO_WritePin(GPIOB, NUM5_Pin, GPIO_PIN_RESET);
		HAL_GPIO_WritePin(GPIOB, NUM6_Pin, GPIO_PIN_RESET);
		HAL_GPIO_WritePin(GPIOB, NUM7_Pin, GPIO_PIN_RESET);
		HAL_GPIO_WritePin(GPIOB, NUM8_Pin, GPIO_PIN_RESET);
		HAL_GPIO_WritePin(GPIOB, NUM9_Pin, GPIO_PIN_RESET);
		break;
	}
}
/* USER CODE END 4 */

void _Error_Handler(char *file, int line)
{
  while(1)
  {
  }
}

/************************ (C) COPYRIGHT STMicroelectronics *****END OF FILE****/
